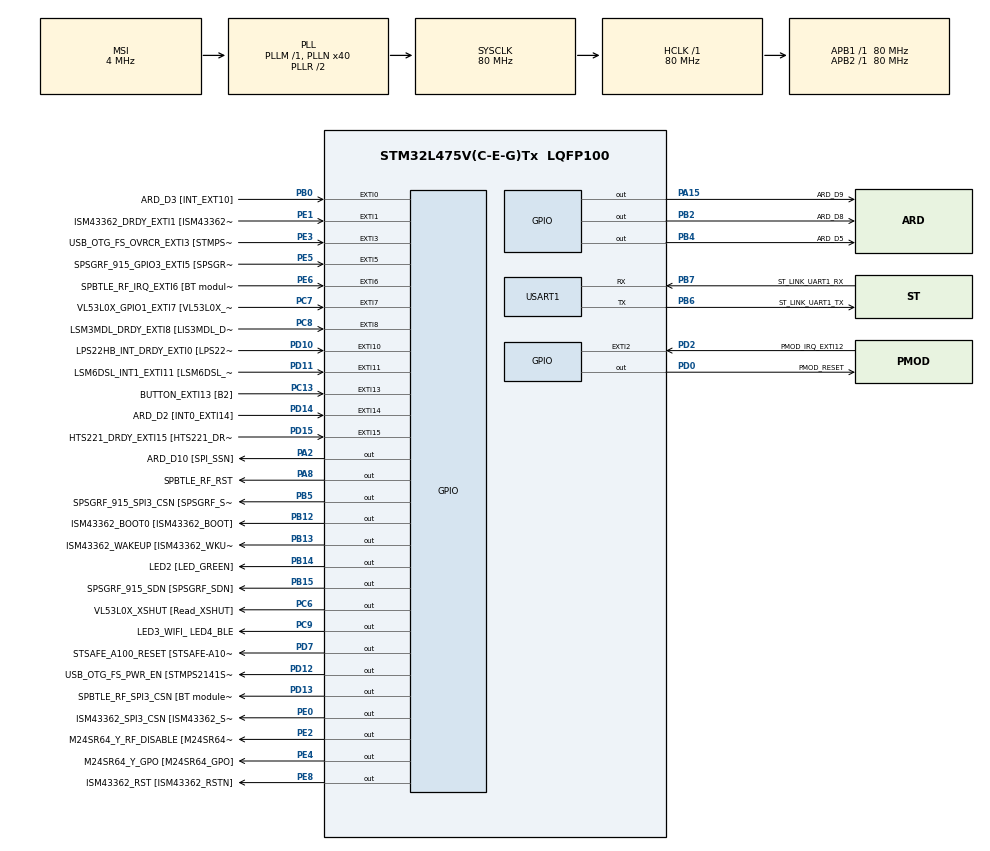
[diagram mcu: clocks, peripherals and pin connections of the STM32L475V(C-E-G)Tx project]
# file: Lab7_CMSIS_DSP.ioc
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Mcu.Family=STM32L4
Mcu.Name=STM32L475V(C-E-G)Tx
Mcu.Package=LQFP100
NVIC.EXTI15_10_IRQn=true\:0\:0\:false\:false\:true\:true\:true\:true
NVIC.EXTI9_5_IRQn=true\:0\:0\:false\:false\:true\:true\:true\:true
NVIC.PriorityGroup=NVIC_PRIORITYGROUP_4
PA0.GPIO_Label=ARD_D1 [UART4_TX]
PA0.Signal=UART4_TX
PA1.GPIO_Label=ARD_D0 [UART4_RX]
PA1.Signal=UART4_RX
PA10.GPIO_Label=USB_OTG_FS_ID
PA10.Signal=USB_OTG_FS_ID
PA11.GPIO_Label=USB_OTG_FS_DM
PA11.Signal=USB_OTG_FS_DM
PA12.GPIO_Label=USB_OTG_FS_DP
PA12.Signal=USB_OTG_FS_DP
PA13\ (JTMS-SWDIO).GPIO_Label=SYS_JTMS_SWDIO
PA13\ (JTMS-SWDIO).Mode=Serial_Wire
PA13\ (JTMS-SWDIO).Signal=SYS_JTMS-SWDIO
PA14\ (JTCK-SWCLK).GPIO_Label=SYS_JTCK_SWCLK
PA14\ (JTCK-SWCLK).Mode=Serial_Wire
PA14\ (JTCK-SWCLK).Signal=SYS_JTCK-SWCLK
PA15\ (JTDI).GPIO_Label=ARD_D9
PA15\ (JTDI).Signal=GPIO_Output
PA2.GPIO_Label=ARD_D10 [SPI_SSN]
PA2.Signal=GPIO_Output
PA3.GPIO_Label=ARD_D4
PA3.Signal=S_TIM2_CH4
PA4.GPIO_Label=ARD_D7
PA4.Signal=ADCx_IN9
PA5.GPIO_Label=ARD_D13 [SPI1_SCK]
PA5.Signal=SPI1_SCK
PA6.GPIO_Label=ARD_D12 [SPI1_MISO]
PA6.Signal=SPI1_MISO
PA7.GPIO_Label=ARD_D11 [SPI1_MOSI]
PA7.Signal=SPI1_MOSI
PA8.GPIO_Label=SPBTLE_RF_RST
PA8.Signal=GPIO_Output
PA9.GPIO_Label=USB_OTG_FS_VBUS [STMPS2141STR_OUT]
PA9.Signal=USB_OTG_FS_VBUS
PB0.GPIO_Label=ARD_D3 [INT_EXT10]
PB0.Signal=GPXTI0
PB1.GPIO_Label=ARD_D6 [ADC1_IN6]
PB1.Signal=ADCx_IN16
PB10.GPIO_Label=INTERNAL_I2C2_SCL [VL53L0X_SCL]
PB10.Signal=I2C2_SCL
PB11.GPIO_Label=INTERNAL_I2C2_SDA [VL53L0X_SDA]
PB11.Signal=I2C2_SDA
PB12.GPIO_Label=ISM43362_BOOT0 [ISM43362_BOOT]
PB12.Signal=GPIO_Output
PB13.GPIO_Label=ISM43362_WAKEUP [ISM43362_WKUP]
PB13.Signal=GPIO_Output
PB14.GPIO_Label=LED2 [LED_GREEN]
PB14.Signal=GPIO_Output
PB15.GPIO_Label=SPSGRF_915_SDN [SPSGRF_SDN]
PB15.Signal=GPIO_Output
PB2.GPIO_Label=ARD_D8
PB2.Signal=GPIO_Output
PB3\ (JTDO-TRACESWO).GPIO_Label=SYS_JTD0_SWO
PB3\ (JTDO-TRACESWO).Signal=SYS_JTDO-SWO
PB4\ (NJTRST).GPIO_Label=ARD_D5
PB4\ (NJTRST).Signal=GPIO_Output
PB5.GPIO_Label=SPSGRF_915_SPI3_CSN [SPSGRF_SPI_CS]
PB5.PinState=GPIO_PIN_SET
PB5.Signal=GPIO_Output
PB6.GPIO_Label=ST_LINK_UART1_TX
PB6.Mode=Asynchronous
PB6.Signal=USART1_TX
PB7.GPIO_Label=ST_LINK_UART1_RX
PB7.Mode=Asynchronous
PB7.Signal=USART1_RX
PB8.GPIO_Label=ARD_D15 [I2C1_SCL]
PB8.Signal=I2C1_SCL
PB9.GPIO_Label=ARD_D14 [I2C1_SDA]
PB9.Signal=I2C1_SDA
PC0.GPIO_Label=ARD_A5 [ADC]
PC0.Signal=ADCx_IN1
PC1.GPIO_Label=ARD_A4 [ADC]
PC1.Signal=ADCx_IN2
PC10.GPIO_Label=INTERNAL_SPI3_SCK [BT module_SPI_SCLK] [ISM43362_SCK]
PC10.Signal=SPI3_SCK
PC11.GPIO_Label=INTERNAL_SPI3_MISO [BT module_SPI_MISO] [ISM43362_MISO]
PC11.Signal=SPI3_MISO
PC12.GPIO_Label=INTERNAL_SPI3_MOSI [BT module_SPI_MOSI] [ISM43362_MOSI]
PC12.Signal=SPI3_MOSI
PC13.GPIO_Label=BUTTON_EXTI13 [B2]
PC13.GPIO_ModeDefaultEXTI=GPIO_MODE_IT_FALLING
PC13.Signal=GPXTI13
PC14-OSC32_IN\ (PC14).Signal=RCC_OSC32_IN
PC15-OSC32_OUT\ (PC15).Signal=RCC_OSC32_OUT
PC2.GPIO_Label=ARD_A3 [ADC]
PC2.Signal=ADCx_IN3
PC3.GPIO_Label=ARD_A2 [ADC]
PC3.Signal=ADCx_IN4
PC4.GPIO_Label=ARD_A1 [ADC]
PC4.Signal=ADCx_IN13
PC5.GPIO_Label=ARD_A0 [ADC]
PC5.Signal=ADCx_IN14
PC6.GPIO_Label=VL53L0X_XSHUT [Read_XSHUT]
PC6.Signal=GPIO_Output
PC7.GPIO_Label=VL53L0X_GPIO1_EXTI7 [VL53L0X_GPIO1]
PC7.Signal=GPXTI7
PC8.GPIO_Label=LSM3MDL_DRDY_EXTI8 [LIS3MDL_DRDY]
PC8.Signal=GPXTI8
PC9.GPIO_Label=LED3_WIFI_ LED4_BLE
PC9.Signal=GPIO_Output
PD0.GPIO_Label=PMOD_RESET
PD0.Signal=GPIO_Output
PD1.GPIO_Label=PMOD_SPI2_SCK
PD1.Signal=SPI2_SCK
PD10.GPIO_Label=LPS22HB_INT_DRDY_EXTI0 [LPS22HB_INT_DRDY] 
PD10.Signal=GPXTI10
PD11.GPIO_Label=LSM6DSL_INT1_EXTI11 [LSM6DSL_INT1]
PD11.Signal=GPXTI11
PD12.GPIO_Label=USB_OTG_FS_PWR_EN [STMPS2141STR_EN]
PD12.Signal=GPIO_Output
PD13.GPIO_Label=SPBTLE_RF_SPI3_CSN [BT module_SPI_CS]
PD13.PinState=GPIO_PIN_SET
PD13.Signal=GPIO_Output
PD14.GPIO_Label=ARD_D2 [INT0_EXTI14]
PD14.Signal=GPXTI14
PD15.GPIO_Label=HTS221_DRDY_EXTI15 [HTS221_DRDY]
PD15.Signal=GPXTI15
PD2.GPIO_Label=PMOD_IRQ_EXTI12
PD2.Signal=GPXTI2
PD3.GPIO_Label=PMOD_UART2_CTS
PD3.Signal=USART2_CTS
PD4.GPIO_Label=PMOD_UART2_RTS
PD4.Signal=USART2_RTS
PD5.GPIO_Label=PMOD_UART2_TX
PD5.Signal=USART2_TX
PD6.GPIO_Label=PMOD_UART2_RX
PD6.Signal=USART2_RX
PD7.GPIO_Label=STSAFE_A100_RESET [STSAFE-A100_RESET]
PD7.Signal=GPIO_Output
PD8.GPIO_Label=INTERNAL_UART3_TX [ISM43362_RX]
PD8.Signal=USART3_TX
PD9.GPIO_Label=INTERNAL_UART3_RX [ISM43362_TX]
PD9.Signal=USART3_RX
PE0.GPIO_Label=ISM43362_SPI3_CSN [ISM43362_SSN]
PE0.PinState=GPIO_PIN_SET
PE0.Signal=GPIO_Output
PE1.GPIO_Label=ISM43362_DRDY_EXTI1 [ISM43362_DATARDY]
PE1.Signal=GPXTI1
PE10.GPIO_Label=QUADSPI_CLK [MX25R6435F_SCLK]
PE10.Signal=QUADSPI_CLK
PE11.GPIO_Label=QUADSPI_NCS [MX25R6435F_SCLK]
PE11.Signal=QUADSPI_NCS
PE12.GPIO_Label=OQUADSPI_BK1_IO0 [MX25R6435F_IO0]
PE12.Signal=QUADSPI_BK1_IO0
PE13.GPIO_Label=QUADSPI_BK1_IO1 [MX25R6435F_IO1]
PE13.Signal=QUADSPI_BK1_IO1
PE14.GPIO_Label=QUAD_SPI_BK1_IO2 [MX25R6435F_IO2]
PE14.Signal=QUADSPI_BK1_IO2
PE15.GPIO_Label=QUAD_SPI_BK1_IO3 [MX25R6435F_IO3]
PE15.Signal=QUADSPI_BK1_IO3
PE2.GPIO_Label=M24SR64_Y_RF_DISABLE [M24SR64_RFDIS]
PE2.Signal=GPIO_Output
PE3.GPIO_Label=USB_OTG_FS_OVRCR_EXTI3 [STMPS2141STR_FAULT]
PE3.Signal=GPXTI3
PE4.GPIO_Label=M24SR64_Y_GPO [M24SR64_GPO]
PE4.Signal=GPIO_Output
PE5.GPIO_Label=SPSGRF_915_GPIO3_EXTI5 [SPSGRF_GPIO_3]
PE5.Signal=GPXTI5
PE6.GPIO_Label=SPBTLE_RF_IRQ_EXTI6 [BT module_SPI_IRQ]
PE6.Signal=GPXTI6
PE7.GPIO_Label=DFSDM1_DATIN2 [MP34DT01_DOUT]
PE7.Signal=S_DATAIN2DFSDM1
PE8.GPIO_Label=ISM43362_RST [ISM43362_RSTN]
PE8.Signal=GPIO_Output
PE9.GPIO_Label=DFSDM1_CKOUT [MP34DT01_CLK]
PE9.Signal=S_CKOUTDFSDM1
ProjectManager.HeapSize=0x200
ProjectManager.StackSize=0x400
ProjectManager.TargetToolchain=STM32CubeIDE
RCC.ADCFreq_Value=48000000
RCC.AHBFreq_Value=80000000
RCC.APB1Freq_Value=80000000
RCC.APB1TimFreq_Value=80000000
RCC.APB2Freq_Value=80000000
RCC.APB2TimFreq_Value=80000000
RCC.CortexFreq_Value=80000000
RCC.HCLKFreq_Value=80000000
RCC.HSE_VALUE=8000000
RCC.HSI_VALUE=16000000
RCC.LSE_VALUE=32768
RCC.MSI_VALUE=4000000
RCC.PLLN=40
RCC.PLLSAI1N=24
RCC.SYSCLKFreq_VALUE=80000000
RCC.SYSCLKSource=RCC_SYSCLKSOURCE_PLLCLK
RCC.USBFreq_Value=48000000
RCC.VCOOutputFreq_Value=160000000
SH.ADCx_IN1.0=ADC1_IN1
SH.ADCx_IN13.0=ADC1_IN13
SH.ADCx_IN14.0=ADC1_IN14
SH.ADCx_IN16.0=ADC1_IN16
SH.ADCx_IN2.0=ADC1_IN2
SH.ADCx_IN3.0=ADC1_IN3
SH.ADCx_IN4.0=ADC1_IN4
SH.ADCx_IN9.0=ADC1_IN9
SH.S_CKOUTDFSDM1.0=DFSDM1_CKOUT
SH.S_DATAIN2DFSDM1.0=DFSDM1_DATIN2
SH.S_TIM2_CH4.0=TIM2_CH4
USART1.VirtualMode-Asynchronous=VM_ASYNC
board=B-L475E-IOT01A1

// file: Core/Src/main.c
/* USER CODE BEGIN Header */
/**
  ******************************************************************************
  * @file           : main.c
  * @brief          : Main program body
  ******************************************************************************
  * @attention
  *
  * Copyright (c) 2026 STMicroelectronics.
  * All rights reserved.
  *
  * This software is licensed under terms that can be found in the LICENSE file
  * in the root directory of this software component.
  * If no LICENSE file comes with this software, it is provided AS-IS.
  *
  ******************************************************************************
  */
/* USER CODE END Header */
#include "main.h"

/* USER CODE BEGIN Includes */
#include <stdio.h>
#include "arm_math.h"
#include "stm32l475e_iot01.h"
#include "stm32l475e_iot01_accelero.h"
/* USER CODE END Includes */

UART_HandleTypeDef huart1;

/* USER CODE BEGIN PV */
/* 定義感測器 FIR 區塊大小 */
#define ACC_BLOCK_SIZE       1   /* 即時單點濾波模式 */
#define ACC_NUM_TAPS         29  /* 濾波器階數 (使用相同的 29 taps) */

/* 官方 arm_fir 範例與講義設計之 29-tap 係數 */
const float32_t firCoeffs32[ACC_NUM_TAPS] = {
  -0.0018225230f, -0.0015879294f,  0.0000000000f,  0.0036977508f,  0.0080754303f,
   0.0085302217f, -0.0000000000f, -0.0173976984f, -0.0341458607f, -0.0333591565f,
   0.0000000000f,  0.0676308395f,  0.1522087601f,  0.2229246497f,  0.2504890938f,
   0.2229246497f,  0.1522087601f,  0.0676308395f,  0.0000000000f, -0.0333591565f,
  -0.0341458607f, -0.0173976984f, -0.0000000000f,  0.0085302217f,  0.0080754303f,
   0.0036977508f,  0.0000000000f, -0.0015879294f, -0.0018225230f
};

/* 濾波器狀態緩衝區與實例結構體 */
static float32_t accFirStateF32[ACC_BLOCK_SIZE + ACC_NUM_TAPS - 1];
static arm_fir_instance_f32 S_acc;

/* 儲存感測器原始整數與轉換後的浮點數 (以 X 軸為例) */
static int16_t raw_acc_xyz[3] = {0};
static float32_t acc_in_f32[ACC_BLOCK_SIZE];
static float32_t acc_out_f32[ACC_BLOCK_SIZE];
/* USER CODE END PV */

void SystemClock_Config(void);
static void MX_GPIO_Init(void);
static void MX_USART1_UART_Init(void);

/* USER CODE BEGIN 0 */
int __io_putchar(int ch)
{
    HAL_UART_Transmit(&huart1, (uint8_t *)&ch, 1, 0xFFFF);
    return ch;
}
/* USER CODE END 0 */

int main(void)
{

  /* MCU Configuration--------------------------------------------------------*/

  /* Reset of all peripherals, Initializes the Flash interface and the Systick. */
  HAL_Init();

  /* Configure the system clock */
  SystemClock_Config();

  /* Initialize all configured peripherals */
  MX_GPIO_Init();
  MX_USART1_UART_Init();
  /* USER CODE BEGIN 2 */
  /* 1. 初始化板載 LSM6DSL 加速度計 */
  if (BSP_ACCELERO_Init() != ACCELERO_OK)
  {
      printf("BSP_ACCELERO_Init Failed!\r\n");
      Error_Handler();
  }
  printf("BSP_ACCELERO_Init OK!\r\n");

  /* 2. 初始化加速度計專用的 FIR 濾波器實例 */
  arm_fir_init_f32(&S_acc, ACC_NUM_TAPS, (float32_t *)&firCoeffs32[0], &accFirStateF32[0], ACC_BLOCK_SIZE);
  /* USER CODE END 2 */

  /* Infinite loop */
  /* USER CODE BEGIN WHILE */
  while (1)
  {
	  /* 1. 讀取三軸加速度值 (mg) */
	  BSP_ACCELERO_AccGetXYZ(raw_acc_xyz);

	  /* 2. 選取其中一軸 (例如 X 軸) 轉為 float 餵入濾波器 */
	  acc_in_f32[0] = (float32_t)raw_acc_xyz[0];

	  /* 3. 執行 FIR 低通濾波 */
	  arm_fir_f32(&S_acc, &acc_in_f32[0], &acc_out_f32[0], ACC_BLOCK_SIZE);

	  /* 4. 格式化印出：同時印出濾波前與濾波後的數值供視覺化/觀察 */
	  printf("Raw_X: %d, Filtered_X: %.2f\r\n", raw_acc_xyz[0], acc_out_f32[0]);

	  HAL_Delay(50); /* 取樣週期 50 ms (取樣頻率約 20 Hz) */
    /* USER CODE END WHILE */

  }
}

void SystemClock_Config(void)
{
  RCC_OscInitTypeDef RCC_OscInitStruct = {0};
  RCC_ClkInitTypeDef RCC_ClkInitStruct = {0};

  /** Configure the main internal regulator output voltage
  */
  if (HAL_PWREx_ControlVoltageScaling(PWR_REGULATOR_VOLTAGE_SCALE1) != HAL_OK)
  {
    Error_Handler();
  }

  /** Initializes the RCC Oscillators according to the specified parameters
  * in the RCC_OscInitTypeDef structure.
  */
  RCC_OscInitStruct.OscillatorType = RCC_OSCILLATORTYPE_MSI;
  RCC_OscInitStruct.MSIState = RCC_MSI_ON;
  RCC_OscInitStruct.MSICalibrationValue = 0;
  RCC_OscInitStruct.MSIClockRange = RCC_MSIRANGE_6;
  RCC_OscInitStruct.PLL.PLLState = RCC_PLL_ON;
  RCC_OscInitStruct.PLL.PLLSource = RCC_PLLSOURCE_MSI;
  RCC_OscInitStruct.PLL.PLLM = 1;
  RCC_OscInitStruct.PLL.PLLN = 40;
  RCC_OscInitStruct.PLL.PLLP = RCC_PLLP_DIV7;
  RCC_OscInitStruct.PLL.PLLQ = RCC_PLLQ_DIV2;
  RCC_OscInitStruct.PLL.PLLR = RCC_PLLR_DIV2;
  if (HAL_RCC_OscConfig(&RCC_OscInitStruct) != HAL_OK)
  {
    Error_Handler();
  }

  /** Initializes the CPU, AHB and APB buses clocks
  */
  RCC_ClkInitStruct.ClockType = RCC_CLOCKTYPE_HCLK|RCC_CLOCKTYPE_SYSCLK
                              |RCC_CLOCKTYPE_PCLK1|RCC_CLOCKTYPE_PCLK2;
  RCC_ClkInitStruct.SYSCLKSource = RCC_SYSCLKSOURCE_PLLCLK;
  RCC_ClkInitStruct.AHBCLKDivider = RCC_SYSCLK_DIV1;
  RCC_ClkInitStruct.APB1CLKDivider = RCC_HCLK_DIV1;
  RCC_ClkInitStruct.APB2CLKDivider = RCC_HCLK_DIV1;

  if (HAL_RCC_ClockConfig(&RCC_ClkInitStruct, FLASH_LATENCY_4) != HAL_OK)
  {
    Error_Handler();
  }
}

static void MX_USART1_UART_Init(void)
{

  huart1.Instance = USART1;
  huart1.Init.BaudRate = 115200;
  huart1.Init.WordLength = UART_WORDLENGTH_8B;
  huart1.Init.StopBits = UART_STOPBITS_1;
  huart1.Init.Parity = UART_PARITY_NONE;
  huart1.Init.Mode = UART_MODE_TX_RX;
  huart1.Init.HwFlowCtl = UART_HWCONTROL_NONE;
  huart1.Init.OverSampling = UART_OVERSAMPLING_16;
  huart1.Init.OneBitSampling = UART_ONE_BIT_SAMPLE_DISABLE;
  huart1.AdvancedInit.AdvFeatureInit = UART_ADVFEATURE_NO_INIT;
  if (HAL_UART_Init(&huart1) != HAL_OK)
  {
    Error_Handler();
  }

}

static void MX_GPIO_Init(void)
{
  GPIO_InitTypeDef GPIO_InitStruct = {0};

  /* GPIO Ports Clock Enable */
  __HAL_RCC_GPIOE_CLK_ENABLE();
  __HAL_RCC_GPIOC_CLK_ENABLE();
  __HAL_RCC_GPIOA_CLK_ENABLE();
  __HAL_RCC_GPIOB_CLK_ENABLE();
  __HAL_RCC_GPIOD_CLK_ENABLE();

  /*Configure GPIO pin Output Level */
  HAL_GPIO_WritePin(GPIOE, M24SR64_Y_RF_DISABLE_Pin|M24SR64_Y_GPO_Pin|ISM43362_RST_Pin, GPIO_PIN_RESET);

  /*Configure GPIO pin Output Level */
  HAL_GPIO_WritePin(GPIOA, ARD_D10_Pin|SPBTLE_RF_RST_Pin|ARD_D9_Pin, GPIO_PIN_RESET);

  /*Configure GPIO pin Output Level */
  HAL_GPIO_WritePin(GPIOB, ARD_D8_Pin|ISM43362_BOOT0_Pin|ISM43362_WAKEUP_Pin|LED2_Pin
                          |SPSGRF_915_SDN_Pin|ARD_D5_Pin, GPIO_PIN_RESET);

  /*Configure GPIO pin Output Level */
  HAL_GPIO_WritePin(GPIOD, USB_OTG_FS_PWR_EN_Pin|PMOD_RESET_Pin|STSAFE_A100_RESET_Pin, GPIO_PIN_RESET);

  /*Configure GPIO pin Output Level */
  HAL_GPIO_WritePin(SPBTLE_RF_SPI3_CSN_GPIO_Port, SPBTLE_RF_SPI3_CSN_Pin, GPIO_PIN_SET);

  /*Configure GPIO pin Output Level */
  HAL_GPIO_WritePin(GPIOC, VL53L0X_XSHUT_Pin|LED3_WIFI__LED4_BLE_Pin, GPIO_PIN_RESET);

  /*Configure GPIO pin Output Level */
  HAL_GPIO_WritePin(SPSGRF_915_SPI3_CSN_GPIO_Port, SPSGRF_915_SPI3_CSN_Pin, GPIO_PIN_SET);

  /*Configure GPIO pin Output Level */
  HAL_GPIO_WritePin(ISM43362_SPI3_CSN_GPIO_Port, ISM43362_SPI3_CSN_Pin, GPIO_PIN_SET);

  /*Configure GPIO pins : M24SR64_Y_RF_DISABLE_Pin M24SR64_Y_GPO_Pin ISM43362_RST_Pin ISM43362_SPI3_CSN_Pin */
  GPIO_InitStruct.Pin = M24SR64_Y_RF_DISABLE_Pin|M24SR64_Y_GPO_Pin|ISM43362_RST_Pin|ISM43362_SPI3_CSN_Pin;
  GPIO_InitStruct.Mode = GPIO_MODE_OUTPUT_PP;
  GPIO_InitStruct.Pull = GPIO_NOPULL;
  GPIO_InitStruct.Speed = GPIO_SPEED_FREQ_LOW;
  HAL_GPIO_Init(GPIOE, &GPIO_InitStruct);

  /*Configure GPIO pins : USB_OTG_FS_OVRCR_EXTI3_Pin SPSGRF_915_GPIO3_EXTI5_Pin SPBTLE_RF_IRQ_EXTI6_Pin ISM43362_DRDY_EXTI1_Pin */
  GPIO_InitStruct.Pin = USB_OTG_FS_OVRCR_EXTI3_Pin|SPSGRF_915_GPIO3_EXTI5_Pin|SPBTLE_RF_IRQ_EXTI6_Pin|ISM43362_DRDY_EXTI1_Pin;
  GPIO_InitStruct.Mode = GPIO_MODE_IT_RISING;
  GPIO_InitStruct.Pull = GPIO_NOPULL;
  HAL_GPIO_Init(GPIOE, &GPIO_InitStruct);

  /*Configure GPIO pin : BUTTON_EXTI13_Pin */
  GPIO_InitStruct.Pin = BUTTON_EXTI13_Pin;
  GPIO_InitStruct.Mode = GPIO_MODE_IT_FALLING;
  GPIO_InitStruct.Pull = GPIO_NOPULL;
  HAL_GPIO_Init(BUTTON_EXTI13_GPIO_Port, &GPIO_InitStruct);

  /*Configure GPIO pins : ARD_A5_Pin ARD_A4_Pin ARD_A3_Pin ARD_A2_Pin
                           ARD_A1_Pin ARD_A0_Pin */
  GPIO_InitStruct.Pin = ARD_A5_Pin|ARD_A4_Pin|ARD_A3_Pin|ARD_A2_Pin
                          |ARD_A1_Pin|ARD_A0_Pin;
  GPIO_InitStruct.Mode = GPIO_MODE_ANALOG_ADC_CONTROL;
  GPIO_InitStruct.Pull = GPIO_NOPULL;
  HAL_GPIO_Init(GPIOC, &GPIO_InitStruct);

  /*Configure GPIO pins : ARD_D1_Pin ARD_D0_Pin */
  GPIO_InitStruct.Pin = ARD_D1_Pin|ARD_D0_Pin;
  GPIO_InitStruct.Mode = GPIO_MODE_AF_PP;
  GPIO_InitStruct.Pull = GPIO_NOPULL;
  GPIO_InitStruct.Speed = GPIO_SPEED_FREQ_VERY_HIGH;
  GPIO_InitStruct.Alternate = GPIO_AF8_UART4;
  HAL_GPIO_Init(GPIOA, &GPIO_InitStruct);

  /*Configure GPIO pins : ARD_D10_Pin SPBTLE_RF_RST_Pin ARD_D9_Pin */
  GPIO_InitStruct.Pin = ARD_D10_Pin|SPBTLE_RF_RST_Pin|ARD_D9_Pin;
  GPIO_InitStruct.Mode = GPIO_MODE_OUTPUT_PP;
  GPIO_InitStruct.Pull = GPIO_NOPULL;
  GPIO_InitStruct.Speed = GPIO_SPEED_FREQ_LOW;
  HAL_GPIO_Init(GPIOA, &GPIO_InitStruct);

  /*Configure GPIO pin : ARD_D4_Pin */
  GPIO_InitStruct.Pin = ARD_D4_Pin;
  GPIO_InitStruct.Mode = GPIO_MODE_AF_PP;
  GPIO_InitStruct.Pull = GPIO_NOPULL;
  GPIO_InitStruct.Speed = GPIO_SPEED_FREQ_LOW;
  GPIO_InitStruct.Alternate = GPIO_AF1_TIM2;
  HAL_GPIO_Init(ARD_D4_GPIO_Port, &GPIO_InitStruct);

  /*Configure GPIO pin : ARD_D7_Pin */
  GPIO_InitStruct.Pin = ARD_D7_Pin;
  GPIO_InitStruct.Mode = GPIO_MODE_ANALOG_ADC_CONTROL;
  GPIO_InitStruct.Pull = GPIO_NOPULL;
  HAL_GPIO_Init(ARD_D7_GPIO_Port, &GPIO_InitStruct);

  /*Configure GPIO pins : ARD_D13_Pin ARD_D12_Pin ARD_D11_Pin */
  GPIO_InitStruct.Pin = ARD_D13_Pin|ARD_D12_Pin|ARD_D11_Pin;
  GPIO_InitStruct.Mode = GPIO_MODE_AF_PP;
  GPIO_InitStruct.Pull = GPIO_NOPULL;
  GPIO_InitStruct.Speed = GPIO_SPEED_FREQ_VERY_HIGH;
  GPIO_InitStruct.Alternate = GPIO_AF5_SPI1;
  HAL_GPIO_Init(GPIOA, &GPIO_InitStruct);

  /*Configure GPIO pin : ARD_D3_Pin */
  GPIO_InitStruct.Pin = ARD_D3_Pin;
  GPIO_InitStruct.Mode = GPIO_MODE_IT_RISING;
  GPIO_InitStruct.Pull = GPIO_NOPULL;
  HAL_GPIO_Init(ARD_D3_GPIO_Port, &GPIO_InitStruct);

  /*Configure GPIO pin : ARD_D6_Pin */
  GPIO_InitStruct.Pin = ARD_D6_Pin;
  GPIO_InitStruct.Mode = GPIO_MODE_ANALOG_ADC_CONTROL;
  GPIO_InitStruct.Pull = GPIO_NOPULL;
  HAL_GPIO_Init(ARD_D6_GPIO_Port, &GPIO_InitStruct);

  /*Configure GPIO pins : ARD_D8_Pin ISM43362_BOOT0_Pin ISM43362_WAKEUP_Pin LED2_Pin
                           SPSGRF_915_SDN_Pin ARD_D5_Pin SPSGRF_915_SPI3_CSN_Pin */
  GPIO_InitStruct.Pin = ARD_D8_Pin|ISM43362_BOOT0_Pin|ISM43362_WAKEUP_Pin|LED2_Pin
                          |SPSGRF_915_SDN_Pin|ARD_D5_Pin|SPSGRF_915_SPI3_CSN_Pin;
  GPIO_InitStruct.Mode = GPIO_MODE_OUTPUT_PP;
  GPIO_InitStruct.Pull = GPIO_NOPULL;
  GPIO_InitStruct.Speed = GPIO_SPEED_FREQ_LOW;
  HAL_GPIO_Init(GPIOB, &GPIO_InitStruct);

  /*Configure GPIO pins : DFSDM1_DATIN2_Pin DFSDM1_CKOUT_Pin */
  GPIO_InitStruct.Pin = DFSDM1_DATIN2_Pin|DFSDM1_CKOUT_Pin;
  GPIO_InitStruct.Mode = GPIO_MODE_AF_PP;
  GPIO_InitStruct.Pull = GPIO_NOPULL;
  GPIO_InitStruct.Speed = GPIO_SPEED_FREQ_LOW;
  GPIO_InitStruct.Alternate = GPIO_AF6_DFSDM1;
  HAL_GPIO_Init(GPIOE, &GPIO_InitStruct);

  /*Configure GPIO pins : QUADSPI_CLK_Pin QUADSPI_NCS_Pin OQUADSPI_BK1_IO0_Pin QUADSPI_BK1_IO1_Pin
                           QUAD_SPI_BK1_IO2_Pin QUAD_SPI_BK1_IO3_Pin */
  GPIO_InitStruct.Pin = QUADSPI_CLK_Pin|QUADSPI_NCS_Pin|OQUADSPI_BK1_IO0_Pin|QUADSPI_BK1_IO1_Pin
                          |QUAD_SPI_BK1_IO2_Pin|QUAD_SPI_BK1_IO3_Pin;
  GPIO_InitStruct.Mode = GPIO_MODE_AF_PP;
  GPIO_InitStruct.Pull = GPIO_NOPULL;
  GPIO_InitStruct.Speed = GPIO_SPEED_FREQ_VERY_HIGH;
  GPIO_InitStruct.Alternate = GPIO_AF10_QUADSPI;
  HAL_GPIO_Init(GPIOE, &GPIO_InitStruct);

  /*Configure GPIO pins : INTERNAL_I2C2_SCL_Pin INTERNAL_I2C2_SDA_Pin */
  GPIO_InitStruct.Pin = INTERNAL_I2C2_SCL_Pin|INTERNAL_I2C2_SDA_Pin;
  GPIO_InitStruct.Mode = GPIO_MODE_AF_OD;
  GPIO_InitStruct.Pull = GPIO_NOPULL;
  GPIO_InitStruct.Speed = GPIO_SPEED_FREQ_VERY_HIGH;
  GPIO_InitStruct.Alternate = GPIO_AF4_I2C2;
  HAL_GPIO_Init(GPIOB, &GPIO_InitStruct);

  /*Configure GPIO pins : INTERNAL_UART3_TX_Pin INTERNAL_UART3_RX_Pin */
  GPIO_InitStruct.Pin = INTERNAL_UART3_TX_Pin|INTERNAL_UART3_RX_Pin;
  GPIO_InitStruct.Mode = GPIO_MODE_AF_PP;
  GPIO_InitStruct.Pull = GPIO_NOPULL;
  GPIO_InitStruct.Speed = GPIO_SPEED_FREQ_VERY_HIGH;
  GPIO_InitStruct.Alternate = GPIO_AF7_USART3;
  HAL_GPIO_Init(GPIOD, &GPIO_InitStruct);

  /*Configure GPIO pins : LPS22HB_INT_DRDY_EXTI0_Pin LSM6DSL_INT1_EXTI11_Pin ARD_D2_Pin HTS221_DRDY_EXTI15_Pin
                           PMOD_IRQ_EXTI12_Pin */
  GPIO_InitStruct.Pin = LPS22HB_INT_DRDY_EXTI0_Pin|LSM6DSL_INT1_EXTI11_Pin|ARD_D2_Pin|HTS221_DRDY_EXTI15_Pin
                          |PMOD_IRQ_EXTI12_Pin;
  GPIO_InitStruct.Mode = GPIO_MODE_IT_RISING;
  GPIO_InitStruct.Pull = GPIO_NOPULL;
  HAL_GPIO_Init(GPIOD, &GPIO_InitStruct);

  /*Configure GPIO pins : USB_OTG_FS_PWR_EN_Pin SPBTLE_RF_SPI3_CSN_Pin PMOD_RESET_Pin STSAFE_A100_RESET_Pin */
  GPIO_InitStruct.Pin = USB_OTG_FS_PWR_EN_Pin|SPBTLE_RF_SPI3_CSN_Pin|PMOD_RESET_Pin|STSAFE_A100_RESET_Pin;
  GPIO_InitStruct.Mode = GPIO_MODE_OUTPUT_PP;
  GPIO_InitStruct.Pull = GPIO_NOPULL;
  GPIO_InitStruct.Speed = GPIO_SPEED_FREQ_LOW;
  HAL_GPIO_Init(GPIOD, &GPIO_InitStruct);

  /*Configure GPIO pins : VL53L0X_XSHUT_Pin LED3_WIFI__LED4_BLE_Pin */
  GPIO_InitStruct.Pin = VL53L0X_XSHUT_Pin|LED3_WIFI__LED4_BLE_Pin;
  GPIO_InitStruct.Mode = GPIO_MODE_OUTPUT_PP;
  GPIO_InitStruct.Pull = GPIO_NOPULL;
  GPIO_InitStruct.Speed = GPIO_SPEED_FREQ_LOW;
  HAL_GPIO_Init(GPIOC, &GPIO_InitStruct);

  /*Configure GPIO pins : VL53L0X_GPIO1_EXTI7_Pin LSM3MDL_DRDY_EXTI8_Pin */
  GPIO_InitStruct.Pin = VL53L0X_GPIO1_EXTI7_Pin|LSM3MDL_DRDY_EXTI8_Pin;
  GPIO_InitStruct.Mode = GPIO_MODE_IT_RISING;
  GPIO_InitStruct.Pull = GPIO_NOPULL;
  HAL_GPIO_Init(GPIOC, &GPIO_InitStruct);

  /*Configure GPIO pin : USB_OTG_FS_VBUS_Pin */
  GPIO_InitStruct.Pin = USB_OTG_FS_VBUS_Pin;
  GPIO_InitStruct.Mode = GPIO_MODE_INPUT;
  GPIO_InitStruct.Pull = GPIO_NOPULL;
  HAL_GPIO_Init(USB_OTG_FS_VBUS_GPIO_Port, &GPIO_InitStruct);

  /*Configure GPIO pins : USB_OTG_FS_ID_Pin USB_OTG_FS_DM_Pin USB_OTG_FS_DP_Pin */
  GPIO_InitStruct.Pin = USB_OTG_FS_ID_Pin|USB_OTG_FS_DM_Pin|USB_OTG_FS_DP_Pin;
  GPIO_InitStruct.Mode = GPIO_MODE_AF_PP;
  GPIO_InitStruct.Pull = GPIO_NOPULL;
  GPIO_InitStruct.Speed = GPIO_SPEED_FREQ_VERY_HIGH;
  GPIO_InitStruct.Alternate = GPIO_AF10_OTG_FS;
  HAL_GPIO_Init(GPIOA, &GPIO_InitStruct);

  /*Configure GPIO pins : INTERNAL_SPI3_SCK_Pin INTERNAL_SPI3_MISO_Pin INTERNAL_SPI3_MOSI_Pin */
  GPIO_InitStruct.Pin = INTERNAL_SPI3_SCK_Pin|INTERNAL_SPI3_MISO_Pin|INTERNAL_SPI3_MOSI_Pin;
  GPIO_InitStruct.Mode = GPIO_MODE_AF_PP;
  GPIO_InitStruct.Pull = GPIO_NOPULL;
  GPIO_InitStruct.Speed = GPIO_SPEED_FREQ_VERY_HIGH;
  GPIO_InitStruct.Alternate = GPIO_AF6_SPI3;
  HAL_GPIO_Init(GPIOC, &GPIO_InitStruct);

  /*Configure GPIO pin : PMOD_SPI2_SCK_Pin */
  GPIO_InitStruct.Pin = PMOD_SPI2_SCK_Pin;
  GPIO_InitStruct.Mode = GPIO_MODE_AF_PP;
  GPIO_InitStruct.Pull = GPIO_NOPULL;
  GPIO_InitStruct.Speed = GPIO_SPEED_FREQ_VERY_HIGH;
  GPIO_InitStruct.Alternate = GPIO_AF5_SPI2;
  HAL_GPIO_Init(PMOD_SPI2_SCK_GPIO_Port, &GPIO_InitStruct);

  /*Configure GPIO pins : PMOD_UART2_CTS_Pin PMOD_UART2_RTS_Pin PMOD_UART2_TX_Pin PMOD_UART2_RX_Pin */
  GPIO_InitStruct.Pin = PMOD_UART2_CTS_Pin|PMOD_UART2_RTS_Pin|PMOD_UART2_TX_Pin|PMOD_UART2_RX_Pin;
  GPIO_InitStruct.Mode = GPIO_MODE_AF_PP;
  GPIO_InitStruct.Pull = GPIO_NOPULL;
  GPIO_InitStruct.Speed = GPIO_SPEED_FREQ_VERY_HIGH;
  GPIO_InitStruct.Alternate = GPIO_AF7_USART2;
  HAL_GPIO_Init(GPIOD, &GPIO_InitStruct);

  /*Configure GPIO pins : ARD_D15_Pin ARD_D14_Pin */
  GPIO_InitStruct.Pin = ARD_D15_Pin|ARD_D14_Pin;
  GPIO_InitStruct.Mode = GPIO_MODE_AF_OD;
  GPIO_InitStruct.Pull = GPIO_NOPULL;
  GPIO_InitStruct.Speed = GPIO_SPEED_FREQ_VERY_HIGH;
  GPIO_InitStruct.Alternate = GPIO_AF4_I2C1;
  HAL_GPIO_Init(GPIOB, &GPIO_InitStruct);

  /* EXTI interrupt init*/
  HAL_NVIC_SetPriority(EXTI9_5_IRQn, 0, 0);
  HAL_NVIC_EnableIRQ(EXTI9_5_IRQn);

  HAL_NVIC_SetPriority(EXTI15_10_IRQn, 0, 0);
  HAL_NVIC_EnableIRQ(EXTI15_10_IRQn);

}

void Error_Handler(void)
{
  __disable_irq();
  while (1)
  {
  }
}
